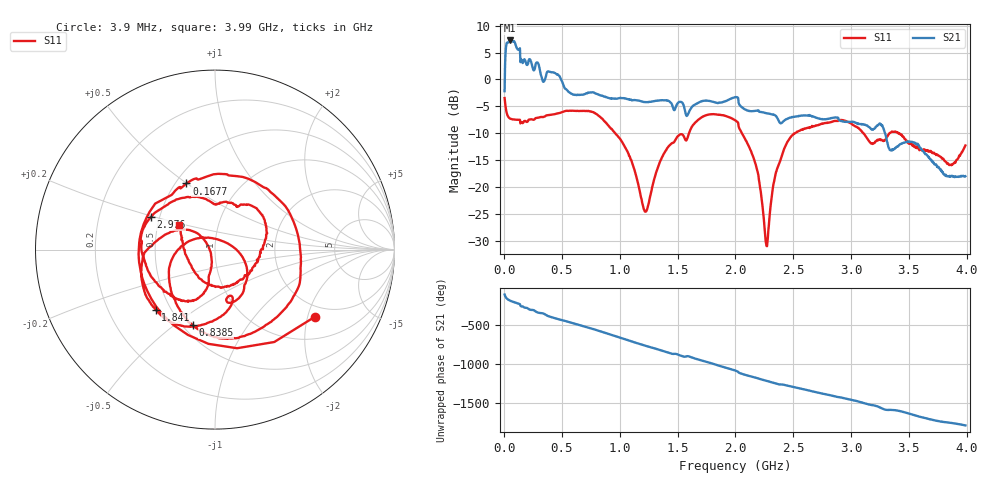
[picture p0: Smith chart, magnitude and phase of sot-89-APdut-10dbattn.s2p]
# HZ S RI R 50
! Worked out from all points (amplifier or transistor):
!   1023 points, 3.9 MHz to 3.99 GHz, reference 50 ohm
!   highest |S21| = 7.2 dB at 50.7 MHz (marker M1)
!   |S21| within 3 dB of that: 10.67 MHz to 138.8 MHz (128.2 MHz wide, 171 % of centre)
!   S11 on the Smith chart (normalised r, x): 3.9 MHz: 1.63, -2.22; 167.7 MHz: 0.57, +0.50; 838.5 MHz: 0.56, -0.59; 1.841 GHz: 0.41, -0.36; 2.976 GHz: 0.45, +0.19; 3.99 GHz: 0.65, +0.19
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3900000  0.5554 -0.375  -0.2473 -0.7359  0 0  0 0
3.12e7  -0.3273 -0.3182  -2.145 -0.4379  0 0  0 0
5.07e7  -0.4127 -0.1277  -2.292 0.2231  0 0  0 0
1.17e8  -0.3713 0.1968  -1.43 1.252  0 0  0 0
1.677e8  -0.1588 0.3687  -0.0329 1.485  0 0  0 0
2.925e8  0.2607 0.3535  1.324 0.514  0 0  0 0
4.602e8  0.4775 -0.0523  0.5542 -0.9548  0 0  0 0
6.708e8  0.2407 -0.4469  -0.589 -0.4095  0 0  0 0
8.385e8  -0.124 -0.4217  -0.5263 0.4734  0 0  0 0
1.1037e9  -0.1686 0.0297  0.6218 0.1352  0 0  0 0
1.2207e9  0.0134 0.0575  0.4542 -0.4132  0 0  0 0
1.3338e9  0.151 -0.0387  -0.00918 -0.6345  0 0  0 0
1.5327e9  0.0958 -0.2945  -0.6099 -0.0838  0 0  0 0
1.8408e9  -0.3303 -0.335  0.2075 0.5662  0 0  0 0
1.9968e9  -0.4082 -0.0856  0.6815 0.0244  0 0  0 0
2.2698e9  -0.0269 -0.0082  -0.3187 -0.3654  0 0  0 0
2.4258e9  -0.0521 -0.2248  -0.4149 0.0273  0 0  0 0
2.6637e9  -0.2851 -0.2343  -0.0441 0.4481  0 0  0 0
2.9757e9  -0.3576 0.1817  0.4007 -0.0297  0 0  0 0
3.3267e9  0.1776 0.2511  -0.1815 -0.1426  0 0  0 0
3.6738e9  0.0557 -0.2055  -0.0383 0.1821  0 0  0 0
3.9897e9  -0.1989 0.1387  0.1185 0.041  0 0  0 0
